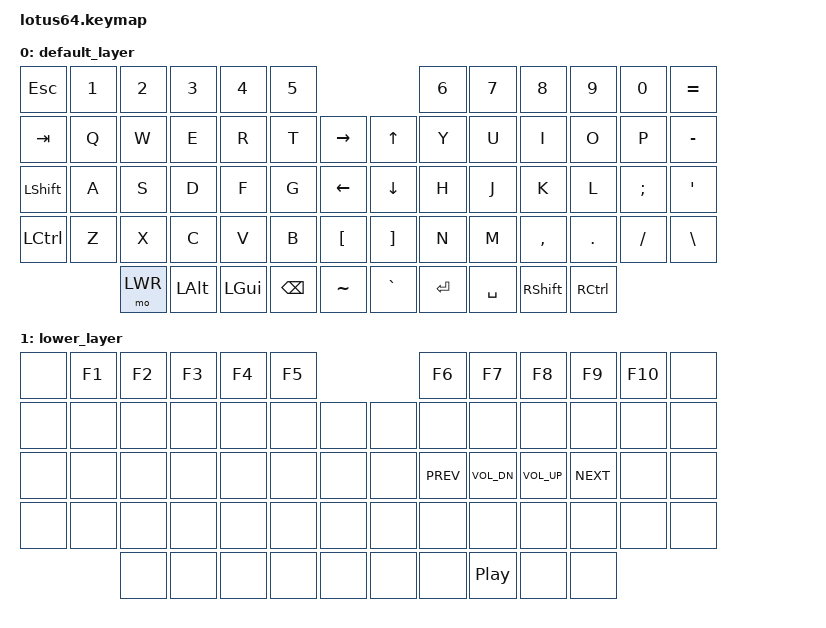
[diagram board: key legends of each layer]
/*
 * Copyright (c) 2020 The ZMK Contributors
 *
 * SPDX-License-Identifier: MIT
 */

#include <behaviors.dtsi>
#include <dt-bindings/zmk/keys.h>
#include <dt-bindings/zmk/bt.h>
#include <dt-bindings/zmk/ext_power.h>

#define LWR 1

/ {
  keymap {
    compatible = "zmk,keymap";

    default_layer {
    //  |  ESC      |   1!   |   2@   |   3#     |   4$     |   5%     |                            |   6^    |   7&      |   8*      |   9(      |   0)     |   =+   |
    //  |  TAB      |   Q    |   W    |   E      |   R      |   T      |   RIGHT  |     |   UP      |   Y     |   U       |   I       |   O       |   P      |   -_   |
    //  |  SHFT     |   A    |   S    |   D      |   F      |   G      |   LEFT   |     |   DOWN    |   H     |   J       |   K       |   L       |   ;:     |   '"   |
    //  |  CTRL     |   Z    |   X    |   C      |   V      |   B      |   [      |     |   ]       |   N     |   M       |   ,<      |   .>      |   /?     |   \|   |
    //                       |   L2   |   ALT    |   GUI    |   BSPC   |   ~      |     |   `       |   RET   |   SPC     |   SHFT    |   CTRL    |

      bindings = <
        &kp ESC     &kp N1   &kp N2   &kp N3     &kp N4     &kp N5                                  &kp N6    &kp N7      &kp N8      &kp N9      &kp N0     &kp EQUAL
        &kp TAB     &kp Q    &kp W    &kp E      &kp R      &kp T      &kp RIGHT        &kp UP      &kp Y     &kp U       &kp I       &kp O       &kp P      &kp MINUS
        &kp LSHFT   &kp A    &kp S    &kp D      &kp F      &kp G      &kp LEFT         &kp DOWN    &kp H     &kp J       &kp K       &kp L       &kp SEMI   &kp SQT
        &kp LCTRL   &kp Z    &kp X    &kp C      &kp V      &kp B      &kp LBKT         &kp RBKT    &kp N     &kp M       &kp COMMA   &kp DOT     &kp FSLH   &kp BSLH
                             &mo LWR  &kp LALT   &kp LGUI   &kp BSPC   &kp TILDE        &kp GRAVE   &kp RET   &kp SPACE   &kp RSHFT   &kp RCTRL
      >;
    };

    lower_layer {
    //  |       |   F1    |   F2    |   F3      |   F4      |   F5      |                              |   F6       |   F7         |   F8         |   F9        |   F10     |        |
    //  |       |         |         |           |           |           |          |      |            |            |              |              |             |           |        |
    //  |       |         |         |           |           |           |          |      |            |   PREV     |   VOL_DOWN   |   VOL_UP     |   NEXT      |           |        |
    //  |       |         |         |           |           |           |          |      |            |            |              |              |             |           |        |
    //                    |         |           |           |           |          |      |            |            |   PLAY       |              |             |

      bindings = <
        &none   &kp F1    &kp F2    &kp F3      &kp F4      &kp F5                                     &kp F6       &kp F7         &kp F8         &kp F9        &kp F10      &none
        &none   &none     &none     &none       &none       &none       &none             &none        &none        &none          &none          &none         &none        &none
        &none   &none     &none     &none       &none       &none       &none             &none        &kp C_PREV   &kp C_VOL_DN   &kp C_VOL_UP   &kp C_NEXT    &none        &none
        &none   &none     &none     &none       &none       &none       &none             &none        &none        &none          &none          &none         &none        &none
                          &none     &none       &none       &none       &none             &none        &none        &kp C_PP       &none          &none
      >;
    };
  };
};
